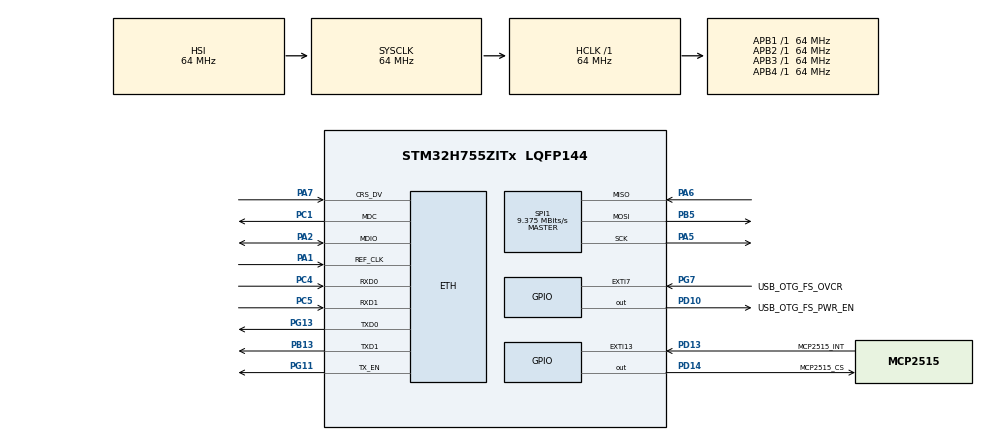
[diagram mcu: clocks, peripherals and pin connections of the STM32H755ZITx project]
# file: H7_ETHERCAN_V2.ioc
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CortexM4.IPs=FATFS_M4\:I,FREERTOS_M4\:I,IWDG2\:I,RCC,WWDG2\:I,DMA,BDMA,MDMA,NVIC2\:I,USART3,PDM2PCM_M4\:I,PWR,RESMGR_UTILITY,SYS_M4\:I,USB_DEVICE_M4\:I,USB_HOST_M4\:I,CORTEX_M4\:I,GPIO,OPENAMP_M4\:I,VREFBUF,NUCLEO-H755ZI-Q
CortexM7.IPs=FATFS_M7\:I,FREERTOS_M7\:I,IWDG1\:I,RCC\:I,WWDG1\:I,DMA\:I,BDMA\:I,MDMA\:I,NVIC1\:I,ETH\:I,USART3\:I,USB_OTG_FS\:I,USB_OTG_FS1\:I,SYS\:I,CORTEX_M7\:I,PDM2PCM_M7\:I,PWR\:I,RESMGR_UTILITY\:I,USB_DEVICE_M7\:I,USB_HOST_M7\:I,GPIO\:I,OPENAMP_M7\:I,VREFBUF\:I,NUCLEO-H755ZI-Q\:I,LWIP\:I,SPI1\:I
CortexM7.Pins=PD10,PD13,PD14,PG7
ETH.MediaInterface=HAL_ETH_RMII_MODE
LWIP.BSP.number=1
LWIP.GATEWAY_ADDRESS=192.168.001.001
LWIP.IP_ADDRESS=192.168.001.020
LWIP.LWIP_DHCP=0
LWIP.MEMP_NUM_SYS_TIMEOUT=10
LWIP.NETMASK_ADDRESS=255.255.255.000
LWIP.Version=v2.2.1_Cube
LWIP0.BSP.STBoard=false
LWIP0.BSP.api=BSP_COMPONENT_DRIVER
LWIP0.BSP.component=LAN8742
LWIP0.BSP.instance=LAN8742
LWIP0.BSP.name=Driver_PHY
LWIP0.BSP.semaphore=S_LAN8742
LWIP0.BSP.solution=LAN8742
Mcu.Family=STM32H7
Mcu.Name=STM32H755ZITx
Mcu.Package=LQFP144
NUCLEO-H755ZI-Q.BUTTON=1
NUCLEO-H755ZI-Q.LD1=true
NUCLEO-H755ZI-Q.LD2=true
NUCLEO-H755ZI-Q.LD3=true
NUCLEO-H755ZI-Q.VCP=true
NVIC1.ETH_IRQn=true\:0\:0\:false\:false\:true\:true\:true\:true
NVIC1.EXTI15_10_IRQn=true\:0\:0\:false\:false\:true\:true\:true\:true
NVIC1.PriorityGroup=NVIC_PRIORITYGROUP_4
NVIC2.PriorityGroup=NVIC_PRIORITYGROUP_4
PA1.Mode=RMII
PA1.PinAttribute=CortexM7
PA1.Signal=ETH_REF_CLK
PA11.PinAttribute=CortexM7
PA11.Signal=USB_OTG_FS_DM
PA12.PinAttribute=CortexM7
PA12.Signal=USB_OTG_FS_DP
PA2.Mode=RMII
PA2.PinAttribute=CortexM7
PA2.Signal=ETH_MDIO
PA5.GPIO_Mode=GPIO_MODE_AF_PP
PA5.GPIO_PuPd=GPIO_NOPULL
PA5.GPIO_Speed=GPIO_SPEED_FREQ_LOW
PA5.Mode=Full_Duplex_Master
PA5.PinAttribute=CortexM7
PA5.Signal=SPI1_SCK
PA6.GPIO_Mode=GPIO_MODE_AF_PP
PA6.GPIO_PuPd=GPIO_NOPULL
PA6.GPIO_Speed=GPIO_SPEED_FREQ_LOW
PA6.Mode=Full_Duplex_Master
PA6.PinAttribute=CortexM7
PA6.Signal=SPI1_MISO
PA7.Mode=RMII
PA7.PinAttribute=CortexM7
PA7.Signal=ETH_CRS_DV
PA8.PinAttribute=CortexM7
PA8.Signal=USB_OTG_FS_SOF
PA9.PinAttribute=CortexM7
PA9.Signal=USB_OTG_FS_VBUS
PB13.Mode=RMII
PB13.PinAttribute=CortexM7
PB13.Signal=ETH_TXD1
PB5.GPIO_Mode=GPIO_MODE_AF_PP
PB5.GPIO_PuPd=GPIO_NOPULL
PB5.GPIO_Speed=GPIO_SPEED_FREQ_LOW
PB5.Mode=Full_Duplex_Master
PB5.PinAttribute=CortexM7
PB5.Signal=SPI1_MOSI
PC1.Mode=RMII
PC1.PinAttribute=CortexM7
PC1.Signal=ETH_MDC
PC14-OSC32_IN\ (OSC32_IN).PinAttribute=Free
PC14-OSC32_IN\ (OSC32_IN).Signal=RCC_OSC32_IN
PC15-OSC32_OUT\ (OSC32_OUT).PinAttribute=Free
PC15-OSC32_OUT\ (OSC32_OUT).Signal=RCC_OSC32_OUT
PC4.Mode=RMII
PC4.PinAttribute=CortexM7
PC4.Signal=ETH_RXD0
PC5.Mode=RMII
PC5.PinAttribute=CortexM7
PC5.Signal=ETH_RXD1
PD10.GPIO_Label=USB_OTG_FS_PWR_EN
PD10.PinAttribute=CortexM7
PD10.Signal=GPIO_Output
PD13.GPIO_Label=MCP2515_INT
PD13.GPIO_ModeDefaultEXTI=GPIO_MODE_EVT_FALLING
PD13.GPIO_PuPd=GPIO_PULLUP
PD13.PinAttribute=CortexM7
PD13.Signal=GPXTI13
PD14.GPIO_Label=MCP2515_CS
PD14.PinAttribute=CortexM7
PD14.PinState=GPIO_PIN_SET
PD14.Signal=GPIO_Output
PD8.Signal=USART3_TX
PD9.Signal=USART3_RX
PG11.Mode=RMII
PG11.PinAttribute=CortexM7
PG11.Signal=ETH_TX_EN
PG13.Mode=RMII
PG13.PinAttribute=CortexM7
PG13.Signal=ETH_TXD0
PG7.GPIO_Label=USB_OTG_FS_OVCR
PG7.PinAttribute=CortexM7
PG7.Signal=GPXTI7
PH0-OSC_IN\ (PH0).PinAttribute=Free
PH0-OSC_IN\ (PH0).Signal=RCC_OSC_IN
PH1-OSC_OUT\ (PH1).PinAttribute=Free
PH1-OSC_OUT\ (PH1).Signal=RCC_OSC_OUT
ProjectManager.HeapSize=M4-0x200,M7-0x200
ProjectManager.StackSize=M4-0x400,M7-0x400
ProjectManager.TargetToolchain=STM32CubeIDE
RCC.ADCFreq_Value=129000000
RCC.APB1Freq_Value=64000000
RCC.APB2Freq_Value=64000000
RCC.APB3Freq_Value=64000000
RCC.APB4Freq_Value=64000000
RCC.CortexFreq_Value=64000000
RCC.DIVM1=4
RCC.DIVN1=9
RCC.HCLKFreq_Value=64000000
RCC.PLL2FRACN=0
RCC.PLL3FRACN=0
RCC.PLLFRACN=3072
RCC.SYSCLKFreq_VALUE=64000000
RCC.SupplySource=PWR_DIRECT_SMPS_SUPPLY
RCC.USBFreq_Value=75000000
SPI1.BaudRatePrescaler=SPI_BAUDRATEPRESCALER_8
SPI1.CalculateBaudRate=9.375 MBits/s
SPI1.DataSize=SPI_DATASIZE_8BIT
SPI1.Direction=SPI_DIRECTION_2LINES
SPI1.Mode=SPI_MODE_MASTER
SPI1.VirtualType=VM_MASTER
VP_LWIP_VS_Enabled.Mode=Enabled
VP_NUCLEO-H755ZI-Q_VS_BSP_COMMON.Mode=COMMON
VP_SYS_M4_VS_Systick.Mode=SysTick
board=NUCLEO-H755ZI-Q

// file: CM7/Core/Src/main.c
/* USER CODE BEGIN Header */
/**
  ******************************************************************************
  * @file           : main.c
  * @brief          : Main program body
  ******************************************************************************
  * @attention
  *
  * Copyright (c) 2026 STMicroelectronics.
  * All rights reserved.
  *
  * This software is licensed under terms that can be found in the LICENSE file
  * in the root directory of this software component.
  * If no LICENSE file comes with this software, it is provided AS-IS.
  *
  ******************************************************************************
  */
/* USER CODE END Header */
#include "main.h"
#include "lwip.h"

/* USER CODE BEGIN Includes */
#include <string.h>
#include <stdio.h>
#include <stdlib.h>
#include "lwip/netif.h"
#include "lwip/ip4_addr.h"
#include "lwip/apps/mqtt.h"
#include "mcp2515.h"
/* USER CODE END Includes */

/* USER CODE BEGIN PD */

/* DUAL_CORE_BOOT_SYNC_SEQUENCE: Define for dual core boot synchronization    */
/*                             demonstration code based on hardware semaphore */
/* This define is present in both CM7/CM4 projects                            */
/* To comment when developping/debugging on a single core                     */
#define DUAL_CORE_BOOT_SYNC_SEQUENCE

#if defined(DUAL_CORE_BOOT_SYNC_SEQUENCE)
#ifndef HSEM_ID_0
#define HSEM_ID_0 (0U) /* HW semaphore 0*/
#endif
#endif /* DUAL_CORE_BOOT_SYNC_SEQUENCE */

/* USER CODE END PD */

COM_InitTypeDef BspCOMInit;

SPI_HandleTypeDef hspi1;

/* USER CODE BEGIN PV */
CAN_Frame rxFrame;
CAN_Frame txFrame;
/* USER CODE END PV */

void SystemClock_Config(void);
static void MX_GPIO_Init(void);
static void MX_SPI1_Init(void);

/* USER CODE BEGIN 0 */

/* ==========================================================================
 * MQTT CLIENT — connects to the same broker the Python GUI uses
 * (gtw_mqtt_commands.py: BROKER = "192.168.1.10", PORT = 1883).
 *
 * The GUI PUBLISHES commands on:
 *   tbm/EMERGENCY_STOP, tbm/startup_procedure, tbm/operation_mode,
 *   tbm/mobility, tbm/cutterhead, tbm/conveyer, stm32/led
 * and a one-shot handshake request on tbm/handshake (sent once on GUI
 * boot, and again on every MQTT reconnect) - see below.
 * and SUBSCRIBES to stm32/# to receive feedback/telemetry back.
 *
 * So this firmware subscribes to "tbm/#" and "stm32/#" to receive every
 * command the GUI sends, and prints each one to UART as it arrives.
 * ==========================================================================*/

#define MQTT_BROKER_IP0   192
#define MQTT_BROKER_IP1   168
#define MQTT_BROKER_IP2   1
#define MQTT_BROKER_IP3   10
#define MQTT_BROKER_PORT  1883
#define MQTT_CLIENT_ID    "STM32_TBM_GATEWAY"

/* ==========================================================================
 * HANDSHAKE — proves an actual round trip, not just "broker connection
 * succeeded". GUI sends TOPIC_HANDSHAKE_REQ once per (re)connect; this
 * firmware replies on TOPIC_HANDSHAKE_ACK, which the GUI uses to light
 * its "TBM Ready" indicator only once this specific reply is seen.
 * ==========================================================================*/
#define TOPIC_HANDSHAKE_REQ   "tbm/handshake"
#define TOPIC_HANDSHAKE_ACK   "stm32/handshake_ack"

/* ==========================================================================
 * HEARTBEAT — ongoing 5s deadman's switch, separate from the one-shot
 * handshake above. GUI pings TOPIC_HEARTBEAT_REQ every 5s; this firmware
 * replies instantly on TOPIC_HEARTBEAT_ACK AND resets its own watchdog
 * timer. If this firmware doesn't see a fresh ping within HEARTBEAT_TIMEOUT_MS
 * (2 missed beats), it independently broadcasts a real EMERGENCY_STOP CAN
 * frame and latches into a fault state - cleared only by the GUI's RESUME
 * button sending "CLEAR EMERGENCY" on tbm/EMERGENCY_STOP (the same command
 * that already clears a manually-triggered E-STOP, reused here for
 * consistency rather than inventing a second reset mechanism).
 * ==========================================================================*/
#define TOPIC_HEARTBEAT_REQ     "tbm/heartbeat"
#define TOPIC_HEARTBEAT_ACK     "stm32/heartbeat_ack"
#define HEARTBEAT_TIMEOUT_MS    10500   /* trips on the 2nd missed beat (GUI pings
                                          * every 5s) - 10500 rather than exactly
                                          * 10000 gives a small jitter allowance
                                          * so a single slightly-late packet
                                          * doesn't false-trigger it */

static uint32_t last_heartbeat_rx_tick = 0;
static uint8_t  heartbeat_fault        = 0;   /* latched - only CLEAR EMERGENCY resets it */
static uint8_t  estop_fault_led        = 0;   /* separate from heartbeat_fault - drives the
                                                * distinct sequential strobe pattern below,
                                                * so an operator-triggered E-STOP looks
                                                * visually different from a lost heartbeat */
static uint8_t  heartbeat_grace_active = 1;   /* true until the first ping ever arrives,
                                                * so the watchdog doesn't trip before the
                                                * GUI has even had a chance to connect */

static mqtt_client_t *mqtt_client;
static uint8_t mqtt_connect_pending = 0;   /* set once netif is up, cleared once connect() called */

/* Holds the topic name for the publish currently streaming in — lwIP's
 * MQTT client delivers topic and payload via two separate callbacks, and
 * payload may arrive in multiple fragments for larger messages. */
static char     mqtt_incoming_topic[128];
static char     mqtt_incoming_payload[512];
static uint16_t mqtt_incoming_payload_len;

/* ==========================================================================
 * MQTT <-> CAN GENERIC RELAY
 *
 * The command dictionary (what each GUI action means, and which CAN
 * ID/data it maps to) now lives entirely on the PC side, in
 * gtw_mqtt_commands.py's CAN_COMMANDS table. This firmware no longer
 * interprets anything - it just relays raw CAN frames in both directions:
 *
 *   PC  -> TOPIC_CAN_TX -> this firmware parses the frame and transmits
 *          it verbatim onto the CAN bus (no lookup table, no
 *          interpretation - just extract ID/ext/rtr/dlc/data and send).
 *
 *   CAN bus -> this firmware -> TOPIC_CAN_RX -> PC, for every single
 *          frame received, so the PC can see what other boards are
 *          reporting without the STM needing to know what any of it means.
 *
 * Wire format (plain text, easy to read/debug via any MQTT client):
 *   "<hex_id>,<ext 0/1>,<rtr 0/1>,<dlc>,<hex_data>"
 * e.g. "10,0,0,1,01" = ID 0x010, standard, data frame, DLC 1, data byte 01
 *
 * "stm32/led" stays handled separately below (mqtt_handle_led_command) -
 * that one controls this board's own onboard LEDs directly, not a CAN
 * device, so it doesn't go through this relay.
 * ==========================================================================*/
#define TOPIC_CAN_TX   "tbm/can_tx"
#define TOPIC_CAN_RX   "stm32/can_rx"

/* Parses a TOPIC_CAN_TX payload into a CAN_Frame. Returns 1 on success,
 * 0 if the payload didn't parse (malformed - logged and dropped rather
 * than risking transmitting garbage onto the bus). */
static uint8_t parse_can_tx_payload(const char *payload, CAN_Frame *frame)
{
    unsigned int id = 0, ext = 0, rtr = 0, dlc = 0;
    char hexdata[17] = { 0 };   /* up to 8 bytes = 16 hex chars + null */

    int n = sscanf(payload, "%x,%u,%u,%u,%16s", &id, &ext, &rtr, &dlc, hexdata);
    if (n < 4)
    {
        return 0;   /* need at least id/ext/rtr/dlc - hexdata is optional if dlc==0 */
    }

    if (dlc > 8) dlc = 8;

    frame->id  = id;
    frame->ext = (ext != 0) ? 1 : 0;
    frame->rtr = (rtr != 0) ? 1 : 0;
    frame->dlc = (uint8_t)dlc;
    memset(frame->data, 0, sizeof(frame->data));

    size_t hexlen = strlen(hexdata);
    for (uint8_t i = 0; i < dlc; i++)
    {
        if (hexlen < (size_t)(i * 2 + 2))
        {
            break;   /* fewer data bytes arrived than DLC claimed - leave rest as 0 */
        }
        char byte_str[3] = { hexdata[i * 2], hexdata[i * 2 + 1], '\0' };
        frame->data[i] = (uint8_t)strtol(byte_str, NULL, 16);
    }

    return 1;
}

/* Fired when a TOPIC_CAN_RX publish completes (success/fail) */
static void mqtt_can_rx_pub_cb(void *arg, err_t result)
{
    (void)arg;
    if (result != ERR_OK)
    {
        printf("MQTT: CAN RX relay publish failed, err=%d\r\n", (int)result);
    }
}

/* Encodes a received CAN frame in the same wire format and relays it to
 * the PC over TOPIC_CAN_RX - called for every frame this board receives
 * off the bus, regardless of what it means (the PC decides that). */
static void mqtt_publish_can_rx(CAN_Frame *frame)
{
    if (mqtt_client == NULL)
    {
        return;   /* not connected yet - nothing to relay to */
    }

    char hexdata[17] = { 0 };
    for (uint8_t i = 0; i < frame->dlc && i < 8; i++)
    {
        sprintf(&hexdata[i * 2], "%02X", frame->data[i]);
    }

    char payload[64];
    int len = snprintf(payload, sizeof(payload), "%lX,%u,%u,%u,%s",
                        (unsigned long)frame->id, frame->ext, frame->rtr,
                        frame->dlc, hexdata);
    if (len < 0) return;

    err_t err = mqtt_publish(mqtt_client, TOPIC_CAN_RX, payload, (u16_t)len,
                              0 /* qos */, 0 /* retain */,
                              mqtt_can_rx_pub_cb, NULL);
    if (err != ERR_OK)
    {
        printf("MQTT: CAN RX relay publish call failed, err=%d\r\n", (int)err);
    }
}

/* Drives the board's physical LD1 (green) / LD2 (yellow) / LD3 (red) LEDs
 * based on an "stm32/led" command from the GUI. Treats them as a single
 * mutually-exclusive indicator — turning one on turns the other two off —
 * since that's the simplest mapping for "which LED is currently commanded".
 * If your team wants independent on/off control of each LED instead
 * (rather than one-at-a-time), this is the function to change: just drop
 * the "turn the others off" lines and add explicit ON/OFF payload variants
 * to the table (e.g. "YELLOW LED ON" / "YELLOW LED OFF"). */
static void mqtt_handle_led_command(const char *payload)
{
    if (strcmp(payload, "GREEN LED") == 0)
    {
        BSP_LED_On(LED_GREEN);
        BSP_LED_Off(LED_YELLOW);
        BSP_LED_Off(LED_RED);
        printf("  physical LED -> GREEN on\r\n");
    }
    else if (strcmp(payload, "YELLOW LED") == 0)
    {
        BSP_LED_On(LED_YELLOW);
        BSP_LED_Off(LED_GREEN);
        BSP_LED_Off(LED_RED);
        printf("  physical LED -> YELLOW on\r\n");
    }
    else if (strcmp(payload, "RED LED") == 0)
    {
        BSP_LED_On(LED_RED);
        BSP_LED_Off(LED_GREEN);
        BSP_LED_Off(LED_YELLOW);
        printf("  physical LED -> RED on\r\n");
    }
}

/* Fired when the handshake ACK publish completes (success/fail) */
static void mqtt_handshake_pub_cb(void *arg, err_t result)
{
    (void)arg;
    if (result != ERR_OK)
    {
        printf("MQTT: handshake ACK publish failed, err=%d\r\n", (int)result);
    }
}

/* Sends the handshake ACK back to the GUI - QOS0, no retain, fire and
 * forget (the GUI will simply re-send its handshake request on its own
 * timeout/retry logic if this doesn't get through). */
static void mqtt_send_handshake_ack(void)
{
    err_t err = mqtt_publish(mqtt_client, TOPIC_HANDSHAKE_ACK, "ACK", 3,
                              0 /* qos */, 0 /* retain */,
                              mqtt_handshake_pub_cb, NULL);
    if (err != ERR_OK)
    {
        printf("MQTT: handshake ACK publish call failed, err=%d\r\n", (int)err);
    }
    else
    {
        printf("MQTT: handshake ACK sent -> %s\r\n", TOPIC_HANDSHAKE_ACK);
    }
}

/* Fired when the heartbeat ACK publish completes (success/fail) */
static void mqtt_heartbeat_pub_cb(void *arg, err_t result)
{
    (void)arg;
    if (result != ERR_OK)
    {
        printf("MQTT: heartbeat ACK publish failed, err=%d\r\n", (int)result);
    }
}

/* Sends the heartbeat ACK back to the GUI - same fire-and-forget approach
 * as the handshake ACK. Called every time a fresh ping arrives. */
static void mqtt_send_heartbeat_ack(void)
{
    err_t err = mqtt_publish(mqtt_client, TOPIC_HEARTBEAT_ACK, "PONG", 4,
                              0 /* qos */, 0 /* retain */,
                              mqtt_heartbeat_pub_cb, NULL);
    if (err != ERR_OK)
    {
        printf("MQTT: heartbeat ACK publish call failed, err=%d\r\n", (int)err);
    }
}

/* Broadcasts a real EMERGENCY_STOP CAN frame - the same ID/command byte
 * (0x010 / 0x01) the GUI's own CAN_COMMANDS dictionary uses for a manually
 * triggered EMERGENCY_STOP, so downstream CAN nodes don't need to know
 * this came from the watchdog rather than an operator press - it's the
 * identical safety signal either way. */
static void heartbeat_broadcast_emergency_stop(void)
{
    CAN_Frame frame = { 0 };
    frame.id  = 0x010;
    frame.ext = 0;
    frame.rtr = 0;
    frame.dlc = 1;
    frame.data[0] = 0x01;

    if (MCP2515_SendMessage(&frame) == HAL_OK)
    {
        printf("CAN TX (heartbeat watchdog) -> ID=0x010 DLC=1 Data: 01 (EMERGENCY_STOP)\r\n");
    }
    else
    {
        printf("CAN TX (heartbeat watchdog) FAILED\r\n");
    }
}

/* Called once per incoming PUBLISH, before any data arrives — gives us the
 * topic name and total payload length. */
static void mqtt_incoming_publish_cb(void *arg, const char *topic, u32_t tot_len)
{
    (void)arg;
    strncpy(mqtt_incoming_topic, topic, sizeof(mqtt_incoming_topic) - 1);
    mqtt_incoming_topic[sizeof(mqtt_incoming_topic) - 1] = '\0';
    mqtt_incoming_payload_len = 0;
    (void)tot_len;
}

/* Called with payload data as it arrives — may fire multiple times per
 * message. MQTT_DATA_FLAG_LAST marks the final fragment, at which point
 * we print the complete topic + payload to UART and bridge it onto CAN. */
static void mqtt_incoming_data_cb(void *arg, const u8_t *data, u16_t len, u8_t flags)
{
    (void)arg;
    uint16_t space_left = sizeof(mqtt_incoming_payload) - 1 - mqtt_incoming_payload_len;
    uint16_t copy_len = (len < space_left) ? len : space_left;

    memcpy(&mqtt_incoming_payload[mqtt_incoming_payload_len], data, copy_len);
    mqtt_incoming_payload_len += copy_len;
    mqtt_incoming_payload[mqtt_incoming_payload_len] = '\0';

    if (flags & MQTT_DATA_FLAG_LAST)
    {
        printf("MQTT RX -> %s | %s\r\n", mqtt_incoming_topic, mqtt_incoming_payload);

        /* Handshake request - reply with ACK and stop here, this isn't a
         * CAN-bridge command and shouldn't fall through to that logic. */
        if (strcmp(mqtt_incoming_topic, TOPIC_HANDSHAKE_REQ) == 0)
        {
            printf("MQTT: handshake request received - replying with ACK\r\n");
            mqtt_send_handshake_ack();
            mqtt_incoming_payload_len = 0;
            return;
        }

        /* Heartbeat ping - reply immediately, reset the watchdog timer, and
         * clear the initial grace period flag (first real ping means the
         * GUI is genuinely connected and pinging now). Also doesn't fall
         * through to the CAN-bridge logic below - this isn't a CAN command. */
        if (strcmp(mqtt_incoming_topic, TOPIC_HEARTBEAT_REQ) == 0)
        {
            last_heartbeat_rx_tick = HAL_GetTick();
            heartbeat_grace_active = 0;
            mqtt_send_heartbeat_ack();
            mqtt_incoming_payload_len = 0;
            return;
        }

        if (strcmp(mqtt_incoming_topic, "stm32/led") == 0)
        {
            mqtt_handle_led_command(mqtt_incoming_payload);
            mqtt_incoming_payload_len = 0;
            return;   /* onboard LED control, not a CAN frame - stop here */
        }

        /* Generic CAN relay - the only thing this firmware still does with
         * incoming MQTT commands. The GUI's CAN_COMMANDS dictionary (in
         * gtw_mqtt_commands.py) already decided exactly what CAN ID/data
         * this action means; we just parse and transmit it verbatim. */
        if (strcmp(mqtt_incoming_topic, TOPIC_CAN_TX) == 0)
        {
            CAN_Frame relayFrame;
            if (!parse_can_tx_payload(mqtt_incoming_payload, &relayFrame))
            {
                printf("MQTT: malformed tbm/can_tx payload, dropped: %s\r\n",
                       mqtt_incoming_payload);
                mqtt_incoming_payload_len = 0;
                return;
            }

            /* Inspecting the actual safety CAN frame content being relayed
             * (ID 0x010) rather than any topic/payload string - this
             * firmware no longer interprets those for anything else, so
             * this is the one place safety-relevant frames still get a
             * second look on their way through. */
            if (relayFrame.id == 0x010 && relayFrame.dlc >= 1)
            {
                if (relayFrame.data[0] == 0x01)   /* EMERGENCY_STOP */
                {
                    if (!estop_fault_led)
                    {
                        printf("E-STOP triggered from GUI - starting sequential LED strobe\r\n");
                    }
                    estop_fault_led = 1;
                }
                else if (relayFrame.data[0] == 0x03)   /* CLEAR EMERGENCY - the RESUME
                                                         * button's action, clears BOTH
                                                         * fault types together */
                {
                    if (heartbeat_fault || estop_fault_led)
                    {
                        printf("Emergency/heartbeat fault cleared by RESUME command\r\n");
                        BSP_LED_Off(LED_GREEN);
                        BSP_LED_Off(LED_YELLOW);
                        BSP_LED_Off(LED_RED);
                    }
                    heartbeat_fault = 0;
                    estop_fault_led = 0;
                    last_heartbeat_rx_tick = HAL_GetTick();
                }
            }

            if (MCP2515_SendMessage(&relayFrame) == HAL_OK)
            {
                printf("CAN TX (relay) -> ID=0x%lX DLC=%d Data:", relayFrame.id, relayFrame.dlc);
                for (uint8_t i = 0; i < relayFrame.dlc; i++)
                {
                    printf(" %02X", relayFrame.data[i]);
                }
                printf("\r\n");
            }
            else
            {
                printf("CAN TX (relay) FAILED\r\n");
            }
        }

        mqtt_incoming_payload_len = 0;
    }
}

/* Fired when a subscribe request completes (success/fail) */
static void mqtt_sub_request_cb(void *arg, err_t result)
{
    const char *topic = (const char *)arg;
    if (result == ERR_OK)
    {
        printf("MQTT: subscribed to %s\r\n", topic);
    }
    else
    {
        printf("MQTT: subscribe to %s FAILED (err=%d)\r\n", topic, (int)result);
    }
}

/* Fired on connect/disconnect */
static void mqtt_connection_cb(mqtt_client_t *client, void *arg, mqtt_connection_status_t status)
{
    (void)arg;
    if (status == MQTT_CONNECT_ACCEPTED)
    {
        printf("MQTT: connected to broker\r\n");

        /* Fresh grace period - the GUI's first heartbeat ping might take a
         * moment to arrive after the connection itself completes, and we
         * don't want the watchdog considering that a fault. */
        last_heartbeat_rx_tick = HAL_GetTick();
        heartbeat_grace_active = 1;

        err_t err;
        err = mqtt_subscribe(client, "tbm/#", 0, mqtt_sub_request_cb, (void *)"tbm/#");
        if (err != ERR_OK)
        {
            printf("MQTT: mqtt_subscribe(tbm/#) call failed, err=%d\r\n", (int)err);
        }

        err = mqtt_subscribe(client, "stm32/#", 0, mqtt_sub_request_cb, (void *)"stm32/#");
        if (err != ERR_OK)
        {
            printf("MQTT: mqtt_subscribe(stm32/#) call failed, err=%d\r\n", (int)err);
        }
    }
    else
    {
        printf("MQTT: disconnected/connect failed (status=%d) - will retry\r\n", (int)status);
        /* Allow the main loop to attempt reconnection */
        mqtt_connect_pending = 1;
    }
}

/* Kick off (or retry) the MQTT connection. Safe to call repeatedly —
 * mqtt_client_connect() is a no-op if already connected/connecting. */
static void mqtt_try_connect(void)
{
    if (mqtt_client == NULL)
    {
        mqtt_client = mqtt_client_new();
        if (mqtt_client == NULL)
        {
            printf("MQTT: mqtt_client_new() failed\r\n");
            return;
        }
        mqtt_set_inpub_callback(mqtt_client,
                                 mqtt_incoming_publish_cb,
                                 mqtt_incoming_data_cb,
                                 NULL);
    }

    ip_addr_t broker_ip;
    IP4_ADDR(&broker_ip, MQTT_BROKER_IP0, MQTT_BROKER_IP1, MQTT_BROKER_IP2, MQTT_BROKER_IP3);

    struct mqtt_connect_client_info_t ci;
    memset(&ci, 0, sizeof(ci));
    ci.client_id = MQTT_CLIENT_ID;

    printf("MQTT: connecting to %d.%d.%d.%d:%d...\r\n",
           MQTT_BROKER_IP0, MQTT_BROKER_IP1, MQTT_BROKER_IP2, MQTT_BROKER_IP3, MQTT_BROKER_PORT);

    err_t err = mqtt_client_connect(mqtt_client, &broker_ip, MQTT_BROKER_PORT,
                                     mqtt_connection_cb, NULL, &ci);
    if (err != ERR_OK)
    {
        printf("MQTT: mqtt_client_connect() call failed, err=%d - will retry\r\n", (int)err);
        mqtt_connect_pending = 1;
    }
    else
    {
        mqtt_connect_pending = 0;
    }
}

/* USER CODE END 0 */

int main(void)
{

/* USER CODE BEGIN Boot_Mode_Sequence_0 */
#if defined(DUAL_CORE_BOOT_SYNC_SEQUENCE)
  int32_t timeout;
#endif /* DUAL_CORE_BOOT_SYNC_SEQUENCE */
/* USER CODE END Boot_Mode_Sequence_0 */

/* USER CODE BEGIN Boot_Mode_Sequence_1 */
#if defined(DUAL_CORE_BOOT_SYNC_SEQUENCE)
  /* Wait until CPU2 boots and enters in stop mode or timeout*/
  timeout = 0xFFFF;
  while((__HAL_RCC_GET_FLAG(RCC_FLAG_D2CKRDY) != RESET) && (timeout-- > 0));
  if ( timeout < 0 )
  {
  Error_Handler();
  }
#endif /* DUAL_CORE_BOOT_SYNC_SEQUENCE */
/* USER CODE END Boot_Mode_Sequence_1 */
  /* MCU Configuration--------------------------------------------------------*/

  /* Reset of all peripherals, Initializes the Flash interface and the Systick. */
  HAL_Init();

  /* Configure the system clock */
  SystemClock_Config();
/* USER CODE BEGIN Boot_Mode_Sequence_2 */
#if defined(DUAL_CORE_BOOT_SYNC_SEQUENCE)
/* When system initialization is finished, Cortex-M7 will release Cortex-M4 by means of
HSEM notification */
/*HW semaphore Clock enable*/
__HAL_RCC_HSEM_CLK_ENABLE();
/*Take HSEM */
HAL_HSEM_FastTake(HSEM_ID_0);
/*Release HSEM in order to notify the CPU2(CM4)*/
HAL_HSEM_Release(HSEM_ID_0,0);
/* wait until CPU2 wakes up from stop mode */
timeout = 0xFFFF;
while((__HAL_RCC_GET_FLAG(RCC_FLAG_D2CKRDY) == RESET) && (timeout-- > 0));
if ( timeout < 0 )
{
Error_Handler();
}
#endif /* DUAL_CORE_BOOT_SYNC_SEQUENCE */
/* USER CODE END Boot_Mode_Sequence_2 */

  /* Initialize all configured peripherals */
  MX_GPIO_Init();
  MX_LWIP_Init();
  MX_SPI1_Init();

  /* Initialize leds */
  BSP_LED_Init(LED_GREEN);
  BSP_LED_Init(LED_YELLOW);
  BSP_LED_Init(LED_RED);

  /* Initialize USER push-button, will be used to trigger an interrupt each time it's pressed.*/
  BSP_PB_Init(BUTTON_USER, BUTTON_MODE_EXTI);

  /* Initialize COM1 port (115200, 8 bits (7-bit data + 1 stop bit), no parity */
  BspCOMInit.BaudRate   = 115200;
  BspCOMInit.WordLength = COM_WORDLENGTH_8B;
  BspCOMInit.StopBits   = COM_STOPBITS_1;
  BspCOMInit.Parity     = COM_PARITY_NONE;
  BspCOMInit.HwFlowCtl  = COM_HWCONTROL_NONE;
  if (BSP_COM_Init(COM1, &BspCOMInit) != BSP_ERROR_NONE)
  {
    Error_Handler();
  }

  /* Infinite loop */
  /* USER CODE BEGIN WHILE */
  while (1)
  {
    MX_LWIP_Process();

    /* USER CODE END WHILE */

    /* USER CODE BEGIN 3 */
    extern struct netif gnetif;   /* declared in lwip.c, used below for MQTT connect gating */

    /* One-shot MCP2515 init + loopback self-test, run on the first loop
     * pass. Deliberately placed here rather than in USER CODE BEGIN 2:
     * this guarantees BSP_COM_Init() has already run, so printf() actually
     * reaches UART (USER CODE BEGIN 2 runs before BSP_COM_Init, where
     * prints would be silently lost). This marker also survives CubeMX
     * regeneration, unlike a custom marker name CubeMX doesn't recognize. */
    static uint8_t mcp2515_init_done = 0;
    if (!mcp2515_init_done)
    {
        mcp2515_init_done = 1;
        printf("Initializing MCP2515...\r\n");
        HAL_StatusTypeDef mcp_init_status = MCP2515_Init(&hspi1);

        if (mcp_init_status != HAL_OK)
        {
            printf("MCP2515 init FAILED - check SPI wiring/power\r\n");
            Error_Handler();
        }
        printf("MCP2515 init OK - Normal mode\r\n");

        printf("Running loopback self-test...\r\n");
        if (MCP2515_LoopbackSelfTest() == HAL_OK)
        {
            printf("LOOPBACK TEST: PASS - SPI link + MCP2515 driver working correctly\r\n");
        }
        else
        {
            printf("LOOPBACK TEST: FAIL - check wiring (SCK/MISO/MOSI/CS) and MCP2515 power\r\n");
        }

        printf("Ethernet: static IP 192.168.1.20 configured, waiting for link...\r\n");
    }

    /* Once the netif is up, connect to the MQTT broker. mqtt_connect_pending
     * starts at 0 so this only fires once naturally via the flag below being
     * primed on first pass, and again automatically if the connection drops
     * (mqtt_connection_cb sets mqtt_connect_pending = 1 on disconnect). */
    static uint8_t mqtt_first_attempt_done = 0;
    static uint32_t last_mqtt_attempt = 0;

    /* A raw physical cable unplug/replug doesn't reliably trigger lwIP's
     * MQTT disconnect callback (that normally relies on slower TCP-level
     * detection) - the client can be left thinking it's still connected
     * when it isn't. Watching the link state directly and forcing a clean
     * reconnect on every down->up transition catches this case, which the
     * connection-callback-only retry logic above didn't. */
    static uint8_t was_link_up = 0;
    uint8_t link_up_now = netif_is_link_up(&gnetif);
    if (link_up_now && !was_link_up)
    {
        printf("Ethernet link restored - forcing a fresh MQTT reconnect\r\n");
        if (mqtt_client != NULL)
        {
            mqtt_disconnect(mqtt_client);
        }
        mqtt_connect_pending = 1;
        last_mqtt_attempt = 0;   /* let the retry fire on the very next loop pass */
    }
    was_link_up = link_up_now;

    if (netif_is_up(&gnetif) && netif_is_link_up(&gnetif))
    {
        if (!mqtt_first_attempt_done)
        {
            mqtt_first_attempt_done = 1;
            mqtt_try_connect();
        }
        else if (mqtt_connect_pending && (HAL_GetTick() - last_mqtt_attempt >= 3000))
        {
            last_mqtt_attempt = HAL_GetTick();
            mqtt_try_connect();
        }
    }

    if (MCP2515_CheckReceive())
    {
        MCP2515_ReadMessage(&rxFrame);
        printf("CAN RX: ID=0x%lX  DLC=%d  Data:", rxFrame.id, rxFrame.dlc);
        for (uint8_t i = 0; i < rxFrame.dlc; i++)
        {
            printf(" %02X", rxFrame.data[i]);
        }
        printf("\r\n");

        /* Relay every received CAN frame back to the PC over Ethernet,
         * regardless of what it means - the GUI decides that based on ID,
         * this firmware just reports what showed up on the bus. */
        mqtt_publish_can_rx(&rxFrame);
    }

    /* Heartbeat watchdog - only checked once the grace period has ended
     * (i.e. at least one real ping has arrived since connecting), and only
     * trips once (heartbeat_fault latches, so this doesn't re-broadcast
     * EMERGENCY_STOP every single loop iteration while the fault persists -
     * only exactly once on the transition into fault). */
    if (!heartbeat_grace_active && !heartbeat_fault &&
        (HAL_GetTick() - last_heartbeat_rx_tick > HEARTBEAT_TIMEOUT_MS))
    {
        heartbeat_fault = 1;
        printf("HEARTBEAT LOST - no ping from GUI within %dms - broadcasting EMERGENCY_STOP\r\n",
               HEARTBEAT_TIMEOUT_MS);
        heartbeat_broadcast_emergency_stop();
    }

    /* Flash all three onboard LEDs together while the heartbeat fault is
     * active - a visible-from-across-the-room indicator that link
     * monitoring has tripped, independent of whatever the GUI's "stm32/led"
     * command last set. Non-blocking (HAL_GetTick()-based), so this
     * doesn't stall LWIP/MQTT/CAN processing elsewhere in the loop. Stops
     * automatically (LEDs turned off) the moment RESUME clears the fault
     * - see the CLEAR EMERGENCY handling above.
     *
     * A manually-triggered E-STOP gets a visually DIFFERENT pattern - a
     * one-by-one sequential strobe (GREEN -> YELLOW -> RED -> repeat) -
     * so it's immediately obvious which failure mode is active without
     * needing to check PuTTY. If both happen to be active at once,
     * heartbeat_fault takes priority (it implies a broader loss of link,
     * not just a manual stop), rather than trying to display both on the
     * same three physical LEDs simultaneously. */
    if (heartbeat_fault)
    {
        static uint32_t last_led_flash_tick = 0;
        static uint8_t  led_flash_on = 0;

        if (HAL_GetTick() - last_led_flash_tick >= 300)
        {
            last_led_flash_tick = HAL_GetTick();
            led_flash_on = !led_flash_on;

            if (led_flash_on)
            {
                BSP_LED_On(LED_GREEN);
                BSP_LED_On(LED_YELLOW);
                BSP_LED_On(LED_RED);
            }
            else
            {
                BSP_LED_Off(LED_GREEN);
                BSP_LED_Off(LED_YELLOW);
                BSP_LED_Off(LED_RED);
            }
        }
    }
    else if (estop_fault_led)
    {
        static uint32_t last_estop_strobe_tick = 0;
        static uint8_t  estop_strobe_step = 0;   /* 0=green, 1=yellow, 2=red */

        if (HAL_GetTick() - last_estop_strobe_tick >= 250)
        {
            last_estop_strobe_tick = HAL_GetTick();

            BSP_LED_Off(LED_GREEN);
            BSP_LED_Off(LED_YELLOW);
            BSP_LED_Off(LED_RED);

            switch (estop_strobe_step)
            {
                case 0: BSP_LED_On(LED_GREEN);  break;
                case 1: BSP_LED_On(LED_YELLOW); break;
                case 2: BSP_LED_On(LED_RED);    break;
            }
            estop_strobe_step = (estop_strobe_step + 1) % 3;
        }
    }
  }
  /* USER CODE END 3 */
}

void SystemClock_Config(void)
{
  RCC_OscInitTypeDef RCC_OscInitStruct = {0};
  RCC_ClkInitTypeDef RCC_ClkInitStruct = {0};

  /** Supply configuration update enable
  */
  HAL_PWREx_ConfigSupply(PWR_DIRECT_SMPS_SUPPLY);

  /** Configure the main internal regulator output voltage
  */
  __HAL_PWR_VOLTAGESCALING_CONFIG(PWR_REGULATOR_VOLTAGE_SCALE3);

  while(!__HAL_PWR_GET_FLAG(PWR_FLAG_VOSRDY)) {}

  /** Initializes the RCC Oscillators according to the specified parameters
  * in the RCC_OscInitTypeDef structure.
  */
  RCC_OscInitStruct.OscillatorType = RCC_OSCILLATORTYPE_HSI;
  RCC_OscInitStruct.HSIState = RCC_HSI_DIV1;
  RCC_OscInitStruct.HSICalibrationValue = RCC_HSICALIBRATION_DEFAULT;
  RCC_OscInitStruct.PLL.PLLState = RCC_PLL_ON;
  RCC_OscInitStruct.PLL.PLLSource = RCC_PLLSOURCE_HSI;
  RCC_OscInitStruct.PLL.PLLM = 4;
  RCC_OscInitStruct.PLL.PLLN = 9;
  RCC_OscInitStruct.PLL.PLLP = 2;
  RCC_OscInitStruct.PLL.PLLQ = 2;
  RCC_OscInitStruct.PLL.PLLR = 2;
  RCC_OscInitStruct.PLL.PLLRGE = RCC_PLL1VCIRANGE_3;
  RCC_OscInitStruct.PLL.PLLVCOSEL = RCC_PLL1VCOMEDIUM;
  RCC_OscInitStruct.PLL.PLLFRACN = 3072;
  if (HAL_RCC_OscConfig(&RCC_OscInitStruct) != HAL_OK)
  {
    Error_Handler();
  }

  /** Initializes the CPU, AHB and APB buses clocks
  */
  RCC_ClkInitStruct.ClockType = RCC_CLOCKTYPE_HCLK|RCC_CLOCKTYPE_SYSCLK
                              |RCC_CLOCKTYPE_PCLK1|RCC_CLOCKTYPE_PCLK2
                              |RCC_CLOCKTYPE_D3PCLK1|RCC_CLOCKTYPE_D1PCLK1;
  RCC_ClkInitStruct.SYSCLKSource = RCC_SYSCLKSOURCE_HSI;
  RCC_ClkInitStruct.SYSCLKDivider = RCC_SYSCLK_DIV1;
  RCC_ClkInitStruct.AHBCLKDivider = RCC_HCLK_DIV1;
  RCC_ClkInitStruct.APB3CLKDivider = RCC_APB3_DIV1;
  RCC_ClkInitStruct.APB1CLKDivider = RCC_APB1_DIV1;
  RCC_ClkInitStruct.APB2CLKDivider = RCC_APB2_DIV1;
  RCC_ClkInitStruct.APB4CLKDivider = RCC_APB4_DIV1;

  if (HAL_RCC_ClockConfig(&RCC_ClkInitStruct, FLASH_LATENCY_1) != HAL_OK)
  {
    Error_Handler();
  }
}

static void MX_SPI1_Init(void)
{

  /* SPI1 parameter configuration*/
  hspi1.Instance = SPI1;
  hspi1.Init.Mode = SPI_MODE_MASTER;
  hspi1.Init.Direction = SPI_DIRECTION_2LINES;
  hspi1.Init.DataSize = SPI_DATASIZE_8BIT;
  hspi1.Init.CLKPolarity = SPI_POLARITY_LOW;
  hspi1.Init.CLKPhase = SPI_PHASE_1EDGE;
  hspi1.Init.NSS = SPI_NSS_SOFT;
  hspi1.Init.BaudRatePrescaler = SPI_BAUDRATEPRESCALER_8;
  hspi1.Init.FirstBit = SPI_FIRSTBIT_MSB;
  hspi1.Init.TIMode = SPI_TIMODE_DISABLE;
  hspi1.Init.CRCCalculation = SPI_CRCCALCULATION_DISABLE;
  hspi1.Init.CRCPolynomial = 0x0;
  hspi1.Init.NSSPMode = SPI_NSS_PULSE_ENABLE;
  hspi1.Init.NSSPolarity = SPI_NSS_POLARITY_LOW;
  hspi1.Init.FifoThreshold = SPI_FIFO_THRESHOLD_01DATA;
  hspi1.Init.TxCRCInitializationPattern = SPI_CRC_INITIALIZATION_ALL_ZERO_PATTERN;
  hspi1.Init.RxCRCInitializationPattern = SPI_CRC_INITIALIZATION_ALL_ZERO_PATTERN;
  hspi1.Init.MasterSSIdleness = SPI_MASTER_SS_IDLENESS_00CYCLE;
  hspi1.Init.MasterInterDataIdleness = SPI_MASTER_INTERDATA_IDLENESS_00CYCLE;
  hspi1.Init.MasterReceiverAutoSusp = SPI_MASTER_RX_AUTOSUSP_DISABLE;
  hspi1.Init.MasterKeepIOState = SPI_MASTER_KEEP_IO_STATE_DISABLE;
  hspi1.Init.IOSwap = SPI_IO_SWAP_DISABLE;
  if (HAL_SPI_Init(&hspi1) != HAL_OK)
  {
    Error_Handler();
  }

}

static void MX_GPIO_Init(void)
{
  GPIO_InitTypeDef GPIO_InitStruct = {0};

  /* GPIO Ports Clock Enable */
  __HAL_RCC_GPIOC_CLK_ENABLE();
  __HAL_RCC_GPIOA_CLK_ENABLE();
  __HAL_RCC_GPIOB_CLK_ENABLE();
  __HAL_RCC_GPIOD_CLK_ENABLE();
  __HAL_RCC_GPIOG_CLK_ENABLE();

  /*Configure GPIO pin Output Level */
  HAL_GPIO_WritePin(USB_OTG_FS_PWR_EN_GPIO_Port, USB_OTG_FS_PWR_EN_Pin, GPIO_PIN_RESET);

  /*Configure GPIO pin Output Level */
  HAL_GPIO_WritePin(MCP2515_CS_GPIO_Port, MCP2515_CS_Pin, GPIO_PIN_SET);

  /*Configure GPIO pins : USB_OTG_FS_PWR_EN_Pin MCP2515_CS_Pin */
  GPIO_InitStruct.Pin = USB_OTG_FS_PWR_EN_Pin|MCP2515_CS_Pin;
  GPIO_InitStruct.Mode = GPIO_MODE_OUTPUT_PP;
  GPIO_InitStruct.Pull = GPIO_NOPULL;
  GPIO_InitStruct.Speed = GPIO_SPEED_FREQ_LOW;
  HAL_GPIO_Init(GPIOD, &GPIO_InitStruct);

  /*Configure GPIO pin : MCP2515_INT_Pin */
  GPIO_InitStruct.Pin = MCP2515_INT_Pin;
  GPIO_InitStruct.Mode = GPIO_MODE_EVT_FALLING;
  GPIO_InitStruct.Pull = GPIO_PULLUP;
  HAL_GPIO_Init(MCP2515_INT_GPIO_Port, &GPIO_InitStruct);

  /*Configure GPIO pin : USB_OTG_FS_OVCR_Pin */
  GPIO_InitStruct.Pin = USB_OTG_FS_OVCR_Pin;
  GPIO_InitStruct.Mode = GPIO_MODE_IT_RISING;
  GPIO_InitStruct.Pull = GPIO_NOPULL;
  HAL_GPIO_Init(USB_OTG_FS_OVCR_GPIO_Port, &GPIO_InitStruct);

  /*Configure GPIO pins : PA8 PA11 PA12 */
  GPIO_InitStruct.Pin = GPIO_PIN_8|GPIO_PIN_11|GPIO_PIN_12;
  GPIO_InitStruct.Mode = GPIO_MODE_AF_PP;
  GPIO_InitStruct.Pull = GPIO_NOPULL;
  GPIO_InitStruct.Speed = GPIO_SPEED_FREQ_LOW;
  GPIO_InitStruct.Alternate = GPIO_AF10_OTG1_FS;
  HAL_GPIO_Init(GPIOA, &GPIO_InitStruct);

}

void Error_Handler(void)
{
  __disable_irq();
  while (1)
  {
  }
}
